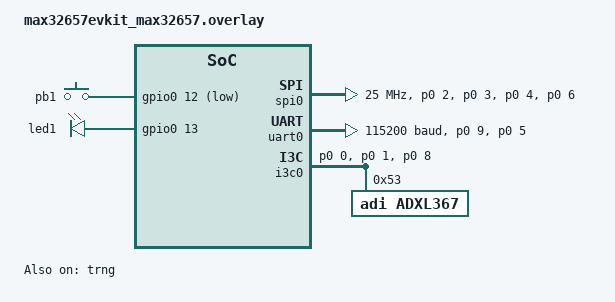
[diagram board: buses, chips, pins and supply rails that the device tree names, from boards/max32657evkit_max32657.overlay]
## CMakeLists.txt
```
# SPDX-License-Identifier: Apache-2.0

cmake_minimum_required(VERSION 3.20.0)
find_package(Zephyr REQUIRED HINTS $ENV{ZEPHYR_BASE})
project(blinky)

set(MAX32_INTERFACE_CFG "cmsis-dap.cfg" CACHE STRING "Override debugger interface config")

# Include compiler flags to enable source navigation with ELF File Explorer
zephyr_cc_option(-fstack-usage)
zephyr_cc_option(-fdump-ipa-cgraph)
zephyr_cc_option(-gdwarf-4)

# Add the BareTerm library
add_subdirectory(bareterm)

target_sources(app PRIVATE
  src/main.c
  src/main_screen.c
  src/test_screen.c
  src/settings_screen.c
  src/test_unit.c
)


# Link with comui library
target_link_libraries(app PRIVATE bareterm )
```

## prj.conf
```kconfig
CONFIG_GPIO=y

# Build for debug (no optimizations) by default
CONFIG_DEBUG=y
CONFIG_NO_OPTIMIZATIONS=y

# Enable thread awareness when debugging
CONFIG_THREAD_NAME=y
CONFIG_DEBUG_THREAD_INFO=y
CONFIG_THREAD_ANALYZER=y

# Sensor config
CONFIG_SENSOR=y
CONFIG_I3C=y
CONFIG_ADXL367=y

#BLE Config
CONFIG_BT=y
CONFIG_BT_PERIPHERAL=y
CONFIG_BT_SMP=y
CONFIG_BT_FIXED_PASSKEY=y
CONFIG_BT_DEVICE_NAME="RF_TEST"
CONFIG_BT_DEVICE_APPEARANCE=0
CONFIG_BT_GATT_SERVICE_CHANGED=y


CONFIG_LOG=n
CONFIG_SENSOR=y
CONFIG_ADXL367=y


CONFIG_SERIAL=y
CONFIG_UART_INTERRUPT_DRIVEN=y
```

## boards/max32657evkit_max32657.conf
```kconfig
# Configuration for MAX32657-WLP.
#
# This file was generated using Analog Devices CodeFusion Studio.
# https://github.com/analogdevicesinc/codefusion-studio
#
# Generated at: 2025-06-24T11:08:08.526Z 
#
# SPDX-License-Identifier: Apache-2.0
# Copyright (c) 2025 Analog Devices, Inc.

# Set the clock frequency
CONFIG_SYS_CLOCK_HW_CYCLES_PER_SEC=50000000 

# Set up the SysTick timer
CONFIG_CORTEX_M_SYSTICK=y
CONFIG_SYS_CLOCK_TICKS_PER_SEC=10000 

# Using GPIO
CONFIG_GPIO=y

# Using UART
CONFIG_SERIAL=y

# Use defined partition of flash memory for code.
CONFIG_USE_DT_CODE_PARTITION=y

###############################
# 🔽 EKLENENLER - Üretim Testi İçin
###############################

# UART üzerinden çıktı
CONFIG_PRINTK=y
CONFIG_CONSOLE=y
CONFIG_UART_CONSOLE=y

# SPI desteği (MAX30123)
CONFIG_SPI=y

# I2C desteği (ADXL367)
CONFIG_SENSOR=y
CONFIG_I3C=y
CONFIG_ADXL367=y
CONFIG_I2C_INIT_PRIORITY=60

# UART input ile ENTER beklemek için
CONFIG_UART_INTERRUPT_DRIVEN=y

# LED / Button desteği için GPIO init önceliği
CONFIG_GPIO_INIT_PRIORITY=40

# main stack büyüklüğü (güvenli buffer için öneri)
CONFIG_MAIN_STACK_SIZE=2048

# Log
CONFIG_LOG=n
CONFIG_LOG_DEFAULT_LEVEL=3
```

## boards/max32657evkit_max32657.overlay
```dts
/**
 * Configuration for MAX32657-WLP.
 *
 * This file was generated using Analog Devices CodeFusion Studio.
 * https://github.com/analogdevicesinc/codefusion-studio
 *
 * Modified for production test on: 2025-06-24
 *
 * SPDX-License-Identifier: Apache-2.0
 */

 / {
	chosen {
		zephyr,code-partition = &slot0_partition;
		zephyr,flash = &flash0;
		zephyr,sram = &secure_ram;
		zephyr,console = &uart0;
		zephyr,shell-uart = &uart0;
		zephyr,bt-c2h-uart = &uart0;
	};

	reserved-memory {
		#address-cells = <1>;
 		#size-cells = <1>;
 		ranges;

		secure_ram: partition@30000000 {
			label = "secure-memory";
			reg = <0x30000000 DT_SIZE_K(256)>;
		};
	};

	aliases {
		led0 = &led1;
		gpio0 = &gpio0;
		sw0 = &pb1;
	};
};

/* Flash partitions */
&flash0 {
	partitions {
		compatible = "fixed-partitions";
		#address-cells = <1>;
		#size-cells = <1>;

		slot0_partition: partition@0 {
			label = "image-0";
			reg = <0x0 DT_SIZE_K(690)>;
		};
		storage_partition: partition@f0000 {
			label = "storage";
			reg = <0xf0000 DT_SIZE_K(64)>;
		};
	};
};

/* GPIO configuration */
&gpio0 {
	status = "okay";
};

 / {
	buttons {
		pb1: pb1 {
			gpios = <&gpio0 12 (GPIO_ACTIVE_LOW | MAX32_GPIO_VSEL_VDDIO | GPIO_PULL_UP)>;
			zephyr,code = <INPUT_KEY_0>;
		};
	};

	leds {
		led1: led_1 {
			gpios = <&gpio0 13 (GPIO_ACTIVE_HIGH | MAX32_GPIO_VSEL_VDDIO | MAX32_GPIO_DRV_STRENGTH_0)>;
		};
	};
};

/* SPI Configuration for MAX30123 (CS: GPIO0_3, SCK: GPIO0_6, MOSI: GPIO0_2, MISO: GPIO0_4) */
&spi0_mosi_p0_2 {
	power-source = <MAX32_VSEL_VDDIO>;
};

&spi0_ss0_p0_3 {
	power-source = <MAX32_VSEL_VDDIO>;
};

&spi0_miso_p0_4 {
	power-source = <MAX32_VSEL_VDDIO>;
};

&spi0_sck_p0_6 {
	power-source = <MAX32_VSEL_VDDIO>;
};

&spi0 {
	pinctrl-0 = <&spi0_mosi_p0_2 &spi0_ss0_p0_3 &spi0_miso_p0_4 &spi0_sck_p0_6>;
	pinctrl-names = "default";
	clock-frequency = <DT_FREQ_M(25)>;
	status = "okay";
};

/* UART0 Pin Configuration (already present) */
&uart0_tx_p0_9 {
	power-source = <MAX32_VSEL_VDDIO>;
};

&uart0_rx_p0_5 {
	power-source = <MAX32_VSEL_VDDIO>;
	bias-pull-up;
};

&uart0 {
	pinctrl-0 = <&uart0_tx_p0_9 &uart0_rx_p0_5>;
	pinctrl-names = "default";
	current-speed = <115200>;
	parity = "none";
	stop-bits = "1";
	data-bits = <8>;
	status = "okay";
};

&i3c_scl_p0_0 {
	power-source = <MAX32_VSEL_VDDIO>;
};

&i3c_sda_p0_1 {
	power-source = <MAX32_VSEL_VDDIO>;
};

&i3c_pur_p0_8 {
	power-source = <MAX32_VSEL_VDDIO>;
	drive-strength = <0>;
};

&i3c0 {
	pinctrl-0 = <&i3c_scl_p0_0 &i3c_sda_p0_1 &i3c_pur_p0_8>;
	pinctrl-names = "default";
	//i3c-scl-hz = <400000>;
	//i2c-scl-hz = <DT_FREQ_K(400)>;
	//i2c-scl-hz 
	status = "okay";
};

&i3c0 {
	adxl367: adxl367@530000000000000000 {
			compatible = "adi,adxl367";
			reg = <0x53 0x00 0x00>;
			status = "okay";
	};
};

&trng {
	status = "okay";
};

/* Disable unused peripherals (korundu) */
&dma1 { status = "disabled"; };
//&i3c0 { status = "disabled"; };
&rtc_counter { status = "disabled"; };
&timer0 { status = "disabled"; };
&timer1 { status = "disabled"; };
&timer2 { status = "disabled"; };
&timer3 { status = "disabled"; };
&timer4 { status = "disabled"; };
&timer5 { status = "disabled"; };
//&trng { status = "disabled"; };
&wdt0 { status = "disabled"; };
&wut0 { status = "disabled"; };
&wut1 { status = "disabled"; };

/* Clock Configuration */
&gcr {
	clocks = <&clk_ipo>;
	sysclk-prescaler = <1>;
};

&clk_ipo {
	status = "okay";
};
```

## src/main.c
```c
/*
 * Copyright (c) 2016 Intel Corporation
 * Portions Copyright (c) 2025 Analog Devices, Inc.
 *
 * SPDX-License-Identifier: Apache-2.0
 */

#include <stdio.h>
#include <zephyr/kernel.h>
#include <zephyr/drivers/gpio.h>
#include <stdio.h>
#include <bareterm.h>
#include <bareterm_screen_manager.h>
#include "main_screen.h"
#include "test_screen.h"

/* 1000 msec = 1 sec */
#define SLEEP_TIME_MS   1000

/* The devicetree node identifier for the "led0" alias. */
#define LED0_NODE DT_ALIAS(led0)

/*
 * A build error on this line means your board is unsupported.
 * See the sample documentation for information on how to fix this.
 */
static const struct gpio_dt_spec led = GPIO_DT_SPEC_GET(LED0_NODE, gpios);

int main(void)
{
	int ret;
	bool led_state = true;


	bareterm_init();

    const struct device *uart = DEVICE_DT_GET(DT_CHOSEN(zephyr_console));
    if (!device_is_ready(uart)) { // Note: Corrected return type
        return;
    }

    bareterm_uart_input_init(uart);

	if (!gpio_is_ready_dt(&led)) {
		return 0;
	}

	ret = gpio_pin_configure_dt(&led, GPIO_OUTPUT_ACTIVE);
	if (ret < 0) {
		return 0;
	}

	// Hide cursor
	bareterm_backend_write("\x1B[?25l", 6);

    // Initialize the screen manager and set the initial screen
    bareterm_screen_manager_init();
    //bareterm_screen_manager_set_active(main_screen_get());
    bareterm_screen_manager_set_active(test_screen_get());
    // Main event loop
    while (1) {
        bareterm_event_t evt;
        if (bareterm_poll_event(&evt)) {
            bareterm_dispatch_event(&evt);
            bareterm_draw_all_widgets();
        }
        k_msleep(10);
    }

	return 0;
}
```

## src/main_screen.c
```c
#include <bareterm_screen.h>
#include <bareterm.h>
#include <widget/bareterm_widget.h>
#include <stdio.h>
#include <string.h>
#include <bareterm_screen_manager.h>
#include "settings_screen.h"
#include "main_screen.h"

#include <zephyr/bluetooth/bluetooth.h>
#include <zephyr/bluetooth/hci.h>
#include <zephyr/bluetooth/gap.h>
#include <zephyr/bluetooth/uuid.h>
#include <zephyr/bluetooth/gatt.h>
#include <zephyr/bluetooth/conn.h>
#include <zephyr/bluetooth/services/cgms.h>

// --- All the static widget variables from main.c go here ---
static bareterm_widget_t btn1, btn2;
static bareterm_widget_t memo;
static bareterm_widget_t lbl1;
static bareterm_widget_t lbl2;
static bareterm_widget_t bar;
static bareterm_widget_t cb1, cb2;
static bareterm_widget_t rg;
static const char *choices[] = { "SPI", "I2C", "UART", "I2C"};
static bareterm_widget_t status_led;
static bareterm_widget_t listbox;
static const char *list_items[] = {
    "First Item", "Second Item", "A Third, Longer Item", "Item Four",
    "Fifth", "Sixth Sense", "Seventh Heaven", "Eighth Wonder",
    "Ninth Life", "Tenth Planet"
};
static bareterm_widget_t input;
static char buf[64] = "";

/* === Define a GATT service globally === */
/* Battery Service Declaration */
BT_GATT_SERVICE_DEFINE(bas_svc,
    BT_GATT_PRIMARY_SERVICE(BT_UUID_BAS),
    BT_GATT_CHARACTERISTIC(BT_UUID_BAS_BATTERY_LEVEL, BT_GATT_CHRC_READ,
                           BT_GATT_PERM_READ, NULL, NULL, NULL),
);

/* Device Information Service Declaration */
BT_GATT_SERVICE_DEFINE(dis_svc,
    BT_GATT_PRIMARY_SERVICE(BT_UUID_DIS),
    BT_GATT_CHARACTERISTIC(BT_UUID_DIS_MANUFACTURER_NAME, BT_GATT_CHRC_READ,
                           BT_GATT_PERM_READ, NULL, NULL, "Analog Devices Inc."),
    BT_GATT_CHARACTERISTIC(BT_UUID_DIS_MODEL_NUMBER, BT_GATT_CHRC_READ,
                           BT_GATT_PERM_READ, NULL, NULL, "MAX32657-EVKIT-Test"),
);

/* Bluetooth declarations */
#define FIXED_PASSKEY 555555
static bt_addr_le_t stored_bond;
static struct bt_conn *active_conn;
static const struct bt_data ad[] = {
    /* Flags: general discoverable, no BR/EDR */
    BT_DATA_BYTES(BT_DATA_FLAGS, (BT_LE_AD_GENERAL | BT_LE_AD_NO_BREDR)),
    /* Set appearance to Generic Computer, little-endian 0x0080 */
    BT_DATA_BYTES(BT_DATA_GAP_APPEARANCE, 0x80, 0x00),
    /* Advertise two services: Device Information and Battery Service */
    BT_DATA_BYTES(BT_DATA_UUID16_ALL,
                  BT_UUID_16_ENCODE(BT_UUID_DIS_VAL),
                  BT_UUID_16_ENCODE(BT_UUID_BAS_VAL)),
};

/* Put the full name in the SCAN RESPONSE to save ADV space */
static const struct bt_data sd[] = {
    BT_DATA(BT_DATA_NAME_COMPLETE, CONFIG_BT_DEVICE_NAME,
            sizeof(CONFIG_BT_DEVICE_NAME) - 1),
};

// --- All the callback functions from main.c go here ---
void on_submit(bareterm_widget_t *ti) {
    // Copy out and display
    char out[64];
    bareterm_textinput_get_text(ti, out, sizeof(out));
    bareterm_move_cursor(1, 20);
    bareterm_printf("You entered: %s", out);
}

static void on_button_click1(void *w) {
    bareterm_label_set_text(&lbl1, "Clicked Button 1!");
    bareterm_label_set_color(&lbl1, bareterm_YELLOW, bareterm_BLUE, bareterm_STYLE_BOLD);
	bareterm_progressbar_set_value(&bar, bar.value - 1);
    static int status_idx = 0;
    bareterm_color_t colors[] = { bareterm_GREEN, bareterm_YELLOW, bareterm_RED, bareterm_WHITE };
    status_idx = (status_idx + 1) % 4;
    bareterm_statusindicator_set_color(&status_led, colors[status_idx]);
}

static void on_button_click2(void *w) {
    // Navigate to the settings screen
    bareterm_screen_manager_set_active(settings_screen_get());
}

//LOG_MODULE_REGISTER(test_rf, LOG_LEVEL_DBG);

static struct bt_conn *default_conn;

/* Bluetooth bağlantı callback fonksiyonları */

K_SEM_DEFINE(bt_connected_sem, 0, 1); // Başlangıçta 0, maksimum 1

static void connected(struct bt_conn *conn, uint8_t err)
{
    if (err) {
        //LOG_ERR("Connection failed (err %u)", err);
        //report_result("BLE_TEST", false);
        //return;
        printk("connection failed\n");
    }

    default_conn = bt_conn_ref(conn);
    //LOG_INF("Connection established");
    k_sem_give(&bt_connected_sem); // Semaforu serbest bırak
}

static void disconnected(struct bt_conn *conn, uint8_t reason)
{
    //LOG_INF("Disconnected (reason %u)", reason);
    printk("disconnected\n");
    if (default_conn) {
        bt_conn_unref(default_conn);
        default_conn = NULL;
    }
}

/* Bluetooth bağlantı callback yapısını tanımla */
static struct bt_conn_cb conn_callbacks = {
    .connected = connected,
    .disconnected = disconnected,
};



static void on_toggle(bareterm_widget_t *cb, unsigned char state) {

    //init_bt();
    
    int err;
    /* Bluetooth'u başlat */
    err = bt_enable(NULL);
    if (err) {
        //LOG_ERR("Bluetooth init failed (err %d)", err);
        printk("Bluetooth init failed\n");
        //report_result("BLE_TEST", false);
        return;
    }

    //LOG_INF("Bluetooth initialized");
    printk("Bluetooth initialized\n");

    /* Bağlantı callback'lerini kaydet */
    bt_conn_cb_register(&conn_callbacks);

    const struct bt_le_adv_param *param =
        BT_LE_ADV_PARAM(BT_LE_ADV_OPT_CONNECTABLE |
                        BT_LE_ADV_OPT_USE_IDENTITY, 
                        BT_GAP_ADV_FAST_INT_MIN_2,  
                        BT_GAP_ADV_FAST_INT_MAX_2,  
                        NULL);                      

    
    err = bt_le_adv_start(param, ad, ARRAY_SIZE(ad), sd, ARRAY_SIZE(sd));
    if (err) {
        printk("Advertising failed to start (err %d)\n", err);
        return;
    }

    //LOG_INF("Advertising started");
    printk("Advertising started. Waiting for connection named BLE TEST...\n");

    /* Bağlantının tamamlanmasını bekle */
    k_sem_take(&bt_connected_sem, K_FOREVER);
    //LOG_INF("Connection established. Waiting for user to press Enter...");
    printk("Connection established. \n");
    //report_result("BLE_TEST", true);


    bareterm_move_cursor(10, 20);
    bareterm_printf("Checkbox is now %s   ", state ? "☑️" : "☐");
	if (state) {
		bareterm_label_set_text(&lbl2, "Checkbox enabled");
		bareterm_modalpopup_show("Checkbox Enabled", "You have enabled the checkbox feature.");
	} else {
		bareterm_label_set_text(&lbl2, "Checkbox disabled");
        bareterm_modalpopup_show("Checkbox Disabled", "The feature has been turned off.");
	}
}

void on_choice_change(bareterm_widget_t *w, int sel) {
    bareterm_move_cursor(4, 18);
    bareterm_printf("Selected: %s   ", choices[sel]);
}

void on_list_select(bareterm_widget_t *w, int sel) {
    bareterm_move_cursor(18, 22);
    bareterm_printf("Listbox selected: %-20s", list_items[sel]);
}

// This function is called when the screen becomes active.
// It is responsible for creating all the widgets for this screen.
static void on_main_screen_enter(bareterm_screen_t *screen) {
    // This is where all the bareterm_*_init() calls from main() go.
    bareterm_draw_box(1, 1, 80, 30, " MAX32657 EVKit Test Tool v0.1.0");
	bareterm_label_init(&lbl1, 15, 4, "Welcome", bareterm_WHITE, bareterm_BLUE, bareterm_STYLE_BOLD);
	bareterm_label_init(&lbl2, 14, 24, "Click somewhere to start", bareterm_YELLOW, bareterm_BLUE, bareterm_STYLE_BOLD);
    bareterm_button_init(&btn1, 4, 6, 20, 3, "[ Button1 ]", on_button_click1);
    bareterm_button_init(&btn2, 26, 6, 20, 3, "[ Settings ]", on_button_click2);
	bareterm_textbox_init(&memo, 3, 10, 36, 5, "To start tests please follow the instructions below: Here are the instructions. Under construction...", bareterm_CYAN, bareterm_BLACK, bareterm_STYLE_NONE);
    bareterm_progressbar_init(&bar, 4,  15, 38, 1, 30, 100, bareterm_GREEN, bareterm_BLACK, bareterm_STYLE_NONE);
    bareterm_checkbox_init(&cb1, 12, 27, "Enable feature 1", false, on_toggle);
    bareterm_checkbox_init(&cb2, 12, 28, "Enable feature 2", false, on_toggle);
    bareterm_radiogroup_init(&rg, 4, 19, choices, 4, 1, on_choice_change);
    bareterm_statusindicator_init(&status_led, 40, 17, "System Status", bareterm_GREEN);
    bareterm_listbox_init(&listbox, 52, 2, 25, 12, list_items, 10, on_list_select);
    
    // The text input 
    // bareterm_textinput_init(&input, ...);
}

// This is the definition of our screen.
static bareterm_screen_t main_screen_def = {
    .on_enter = on_main_screen_enter,
    .on_leave = NULL, // No special cleanup needed
    .user_data = NULL,
};

// This is the public function to get a pointer to our screen.
bareterm_screen_t* main_screen_get(void) {
    return &main_screen_def;
}
```

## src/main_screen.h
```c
#ifndef MAIN_SCREEN_H
#define MAIN_SCREEN_H

#include <bareterm_screen.h>

// Returns a pointer to the main screen definition
bareterm_screen_t* main_screen_get(void);

#endif // MAIN_SCREEN_H
```

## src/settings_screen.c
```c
#include "settings_screen.h"
#include "main_screen.h" // Needed to navigate back
#include <bareterm.h>
#include <widget/bareterm_widget.h>
#include <bareterm_screen_manager.h>
#include <stdio.h>

// --- Widgets for this screen ---
static bareterm_widget_t lbl_title;
static bareterm_widget_t btn_back;

// --- Callbacks for this screen ---

// This is the key to navigation. It tells the screen manager
// to switch back to the main screen.
static void on_back_button_click(void *w) {
    bareterm_screen_manager_set_active(main_screen_get());
}

// --- Screen lifecycle functions ---
static void on_settings_screen_enter(bareterm_screen_t *screen) {
    bareterm_draw_box(1, 1, 80, 30, " Settings ");

    bareterm_label_init(&lbl_title,
        28, 10,
        "This is the settings screen.",
        bareterm_WHITE, bareterm_BLACK, bareterm_STYLE_NONE);

    bareterm_button_init(&btn_back,
        30, 15,
        20, 3,
        "[ Back ]",
        on_back_button_click);
}

// --- Screen definition ---
static bareterm_screen_t settings_screen_def = {
    .on_enter = on_settings_screen_enter,
};

bareterm_screen_t* settings_screen_get(void) {
    return &settings_screen_def;
}
```

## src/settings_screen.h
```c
#ifndef SETTINGS_SCREEN_H
#define SETTINGS_SCREEN_H

#include <bareterm_screen.h>

// Returns a pointer to the settings screen definition
bareterm_screen_t* settings_screen_get(void);

#endif // SETTINGS_SCREEN_H
```

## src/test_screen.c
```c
#include <bareterm_screen.h>
#include <bareterm.h>
#include <widget/bareterm_widget.h>
#include <bareterm_screen_manager.h>
#include <stdio.h>
#include <zephyr/kernel.h>
#include <zephyr/drivers/gpio.h>

#include "main_screen.h"
#include "test_screen.h"

// Use an enum for wizard steps to improve readability and maintainability.
typedef enum {
    WIZARD_STEP_INTRO,
    WIZARD_STEP_INSPECTION,
    WIZARD_STEP_VOLTAGES,
    WIZARD_STEP_LED_TEST,
    WIZARD_STEP_GPIO_TEST_PREPARE,
    WIZARD_STEP_GPIO_TEST_PERFORM,
    WIZARD_STEP_COMPLETE,
    WIZARD_STEP_COUNT // This special member gives us the total number of steps.
} wizard_step_t;

typedef enum {
    TESTERROR_LED,
    TESTERROR_GPIO
} test_error_t;

// --- State for the Wizard ---
// The current step is now of the enum type, initialized to the first step.
static wizard_step_t current_step = WIZARD_STEP_INTRO;

// State for the voltage check step. This must be static to persist
// when the user navigates back and forth.
static bool tp3_vbus_checked = false;
static bool tp5_vin_checked = false;
static bool tp13_vdd18_checked = false;
static bool tp8_vreg1_checked = false;
static bool tp10_vcore_checked = false;
static bool cb_ledd0_checked = false;
static bool cb_ledd4_checked = false;

// --- Widgets used across different steps ---
static bareterm_widget_t lbl_title;
static bareterm_widget_t memo_instructions, progress_bar;
static bareterm_widget_t btn_next, btn_back, btn_finish;
static bareterm_widget_t cb_tp3, cb_tp5, cb_tp13, cb_tp8, cb_tp10, cb_ledd0, cb_ledd4; // cb_ledd0 is for the blinking test
static bareterm_widget_t status_led, lbl_gpio_status;
static char wizard_title_buf[64];


/* The devicetree node identifiers */
#define LED0_NODE     DT_ALIAS(led0)
#define BUTTON_NODE   DT_ALIAS(sw0)
#define SPI_NODE      DT_NODELABEL(spi0)
#define GPIO0_NODE    DT_NODELABEL(gpio0)
#define UART_NODE     DT_CHOSEN(zephyr_console)
#define I2C_NODE      DT_NODELABEL(i3c0)

// --- LED Blinking Test Resources ---
#define LED0_NODE DT_ALIAS(led0)
static const struct gpio_dt_spec led = GPIO_DT_SPEC_GET(LED0_NODE, gpios);

static const struct device *gpio0_dev = DEVICE_DT_GET(GPIO0_NODE);


static void blink_timer_expiry_function(struct k_timer *timer_id);
K_TIMER_DEFINE(led_blink_timer, blink_timer_expiry_function, NULL);

static void blink_timer_expiry_function(struct k_timer *timer_id)
{
    gpio_pin_toggle_dt(&led);
}

void testfunction_led(void) {

    // Configure the GPIO and start the blink timer
    gpio_pin_configure_dt(&led, GPIO_OUTPUT_ACTIVE);
    if (!gpio_is_ready_dt(&led)) {
        //report_result("LED", false);
        return;
    }
            k_timer_start(&led_blink_timer, K_MSEC(500), K_MSEC(500));

}

int testfunction_gpio(void) {

    int ret;

    ret = gpio_pin_configure(gpio0_dev, 8, GPIO_OUTPUT);
    if (ret != 0) {
        return(ret);
    }

    ret = gpio_pin_configure(gpio0_dev, 7, GPIO_INPUT);
    if (ret != 0) {
        return(ret);
    }

    ret = gpio_pin_set(gpio0_dev, 8, 1);
    if (ret != 0) {
        return(ret);
    }

    k_sleep(K_MSEC(10)); 

    int value = gpio_pin_get(gpio0_dev, 7); 
    if (value != 1) {
        return -EIO;
    }

    ret = gpio_pin_set(gpio0_dev, 8, 0); 
    if (ret != 0) {
        return ret;
    }

    k_sleep(K_MSEC(10)); 

    value = gpio_pin_get(gpio0_dev, 7); 
    if (value != 0) {
        return -EIO;
    }

    return 0;
    
}

// --- Wizard Navigation Callbacks ---

static void on_checkbox_toggle(bareterm_widget_t *cb, unsigned char state);

static void on_next_click(void *w) {
    current_step++;
    // Reload the current screen to show the next step
    bareterm_screen_manager_set_active(test_screen_get());
}

static void on_back_click(void *w) {
    current_step--;
    // Reload the current screen to show the previous step
    bareterm_screen_manager_set_active(test_screen_get());
}

static void on_finish_click(void *w) {
    // Ensure timer is stopped on finish
    k_timer_stop(&led_blink_timer);
    // Reset the step counter for the next time we enter this screen
    current_step = WIZARD_STEP_INTRO;

    // Also reset the state of the checkboxes
    tp3_vbus_checked = false;
    tp5_vin_checked = false;
    tp13_vdd18_checked = false;
    tp8_vreg1_checked = false;
    tp10_vcore_checked = false;
    cb_ledd0_checked = false;
    cb_ledd4_checked = false;


    // Navigate back to the main screen
    bareterm_screen_manager_set_active(main_screen_get());
}

static void on_checkbox_toggle(bareterm_widget_t *cb, unsigned char state) {
    if (cb == &cb_tp3) {
        tp3_vbus_checked = state;
    } else if (cb == &cb_tp5) {
        tp5_vin_checked = state;
    } else if (cb == &cb_tp13) {
        tp13_vdd18_checked = state;
    } else if (cb == &cb_tp8) {
        tp8_vreg1_checked = state;
    } else if (cb == &cb_tp10) {
        tp10_vcore_checked = state;
    } else if (cb == &cb_ledd4) {
        cb_ledd4_checked = state;
    } else if (cb == &cb_ledd0) {
        cb_ledd0_checked = state;
    }

    // Reload the screen. This is necessary to re-evaluate the state
    // of the 'Next' button, which is disabled until all boxes are checked.
    bareterm_screen_manager_set_active(test_screen_get());
}

// --- Screen Lifecycle Functions ---

// on_enter is the "blueprint" for the screen. It runs every time the screen
// is activated, and it uses the `current_step` variable to decide what to draw.
static void on_test_screen_enter(bareterm_screen_t *screen) {
    // Stop the blink timer by default. It will be restarted only if we are on the LED test step.
    // This is a robust way to manage the timer's lifecycle.
    k_timer_stop(&led_blink_timer);

    bareterm_draw_box(1, 1, 80, 30, " Test Procedure ");

    // Initialize the progress bar to show the current step. This is drawn on every step.
    bareterm_progressbar_init(&progress_bar, 5, 26, 40, 1, current_step + 1, WIZARD_STEP_COUNT, bareterm_GREEN, bareterm_BLACK, bareterm_STYLE_NONE);

    switch (current_step) {
        case WIZARD_STEP_INTRO:
            snprintf(wizard_title_buf, sizeof(wizard_title_buf), "Step %d: Introduction", current_step + 1);
            bareterm_label_init(&lbl_title, 5, 3, wizard_title_buf, bareterm_WHITE, bareterm_BLUE, bareterm_STYLE_BOLD);
            bareterm_textbox_init(&memo_instructions, 5, 5, 70, 5, "To start tests please follow the instructions below. For questions, contact ismail.tasdemir@analog.com or gokhan.bektas@analog.com.", bareterm_CYAN, bareterm_BLACK, bareterm_STYLE_NONE);
            
            // Navigation for Step 1
            bareterm_button_init(&btn_next, 66, 25, 12, 3, "[ Next ]", on_next_click);
            break;

        case WIZARD_STEP_INSPECTION:
            snprintf(wizard_title_buf, sizeof(wizard_title_buf), "Step %d: Visual Inspection", current_step + 1);
            bareterm_label_init(&lbl_title, 5, 3, wizard_title_buf, bareterm_WHITE, bareterm_BLUE, bareterm_STYLE_BOLD);
            bareterm_textbox_init(&memo_instructions, 5, 5, 70, 8, "Check for solder bridges, missing components, and correct shunt placement. Verify jumper settings against the Jumper Settings Table and confirm shunt positions using the 3D board images.", bareterm_CYAN, bareterm_BLACK, bareterm_STYLE_NONE);

            // Navigation for Step 2
            bareterm_button_init(&btn_back, 52, 25, 12, 3, "[ Back ]", on_back_click);
            bareterm_button_init(&btn_next, 66, 25, 12, 3, "[ Next ]", on_next_click);
            break;

        case WIZARD_STEP_VOLTAGES:
            snprintf(wizard_title_buf, sizeof(wizard_title_buf), "Step %d: Voltage Checks", current_step + 1);
            bareterm_label_init(&lbl_title, 5, 3, wizard_title_buf, bareterm_WHITE, bareterm_BLUE, bareterm_STYLE_BOLD);
            bareterm_textbox_init(&memo_instructions, 5, 5, 70, 3, "Use a multimeter to measure the voltages at the test points shown below. Verify that each reading matches the expected value in the table.", bareterm_CYAN, bareterm_BLACK, bareterm_STYLE_NONE);

            // Add checkboxes for each voltage measurement
            int y_pos = 10;
            bareterm_checkbox_init(&cb_tp3,  7, y_pos   , "TP3  - VBUS     5V   (4.5V  - 5.5V)",       tp3_vbus_checked,   on_checkbox_toggle);
            bareterm_checkbox_init(&cb_tp5,  7, y_pos+2 , "TP5  - VIN      1.5V (1.425 – 1.575V)",  tp5_vin_checked,    on_checkbox_toggle);
            bareterm_checkbox_init(&cb_tp8,  7, y_pos+4 , "TP8  – VREG1    1V   (0.95V – 1.05V)",     tp8_vreg1_checked,  on_checkbox_toggle);
            bareterm_checkbox_init(&cb_tp10, 7, y_pos+6 , "TP10 - VCORE    1V   (0.95V – 1.05V)",     tp10_vcore_checked, on_checkbox_toggle);
            bareterm_checkbox_init(&cb_tp13, 7, y_pos+8 , "TP13 – VDD18    1.8V (1.71V – 1.89V)",   tp13_vdd18_checked, on_checkbox_toggle);
            
            bareterm_checkbox_init(&cb_ledd4, 7, y_pos+10, "Observe that the Power LED – D4 is illuminated.",   cb_ledd4_checked, on_checkbox_toggle);
            bareterm_statusindicator_init(&status_led, 5, y_pos+10, "", bareterm_BLUE);

            // Navigation for Step 3
            bareterm_button_init(&btn_back, 52, 25, 12, 3, "[ Back ]", on_back_click);

            // Only enable the 'Next' button if all voltages have been checked
            bool all_checked = tp3_vbus_checked && tp5_vin_checked && tp13_vdd18_checked && tp8_vreg1_checked && tp10_vcore_checked && cb_ledd4_checked;
            if (all_checked) {
                bareterm_button_init(&btn_next, 66, 25, 12, 3, "[ Next ]", on_next_click);
            } else {
                bareterm_button_init(&btn_next, 66, 25, 12, 3, "[ ... ]", NULL);
            }
            break;
        case WIZARD_STEP_LED_TEST:
            snprintf(wizard_title_buf, sizeof(wizard_title_buf), "Step %d: LED Test", current_step + 1);
            bareterm_label_init(&lbl_title, 5, 3, wizard_title_buf, bareterm_WHITE, bareterm_BLUE, bareterm_STYLE_BOLD);
            bareterm_textbox_init(&memo_instructions, 5, 5, 70, 3, "Verify that the GREEN LED – D0 is blinking at 1Hz. Check the box to confirm.", bareterm_CYAN, bareterm_BLACK, bareterm_STYLE_NONE);

            testfunction_led();

            // Add a checkbox for user confirmation
            bareterm_checkbox_init(&cb_ledd0, 7, 10, "GREEN LED - D0 is blinking correctly.", cb_ledd0_checked, on_checkbox_toggle);
            bareterm_statusindicator_init(&status_led, 5, 10, "", bareterm_GREEN);

            // Navigation for Step 4
            bareterm_button_init(&btn_back, 52, 25, 12, 3, "[ Back ]", on_back_click);

            // Only enable the 'Next' button if the user has confirmed the blink
            all_checked =  cb_ledd0_checked;
            if (all_checked) {
                bareterm_button_init(&btn_next, 66, 25, 12, 3, "[ Next ]", on_next_click);
            } else {
                bareterm_button_init(&btn_next, 66, 25, 12, 3, "[ ... ]", NULL);
            }
            break;
        case WIZARD_STEP_GPIO_TEST_PREPARE:
            snprintf(wizard_title_buf, sizeof(wizard_title_buf), "Step %d: GPIO Test", current_step + 1);
            bareterm_label_init(&lbl_title, 5, 3, wizard_title_buf, bareterm_WHITE, bareterm_BLUE, bareterm_STYLE_BOLD);
            bareterm_textbox_init(&memo_instructions, 5, 5, 70, 3, "Please remove the GPIO2 and INTB jumper from the JP15 header and connect these pin with a jumper cable on J13 Header(7 and 8). Then click Next to start.", bareterm_CYAN, bareterm_BLACK, bareterm_STYLE_NONE);
            
            // Navigation for previous step
            bareterm_button_init(&btn_back, 52, 25, 12, 3, "[ Back ]", on_back_click);
            bareterm_button_init(&btn_next, 66, 25, 12, 3, "[ Next ]", on_next_click);
            break;
        case WIZARD_STEP_GPIO_TEST_PERFORM:
            snprintf(wizard_title_buf, sizeof(wizard_title_buf), "Step %d: GPIO Test", current_step + 1);
            bareterm_label_init(&lbl_title, 5, 3, wizard_title_buf, bareterm_WHITE, bareterm_BLUE, bareterm_STYLE_BOLD);
            bareterm_textbox_init(&memo_instructions, 5, 5, 70, 3, "Testing J13 Header GPIO Pins", bareterm_CYAN, bareterm_BLACK, bareterm_STYLE_NONE);
            
            int test_result = testfunction_gpio();
            if (test_result == 0) {
                bareterm_label_init(&lbl_gpio_status, 7, 10, "GPIO Test: PASSED", bareterm_GREEN, bareterm_BLACK, bareterm_STYLE_BOLD);
            } else {
                bareterm_label_init(&lbl_gpio_status, 7, 10, "GPIO Test: FAILED", bareterm_RED, bareterm_BLACK, bareterm_STYLE_BOLD);
            }

            // Navigation for previous step
            bareterm_button_init(&btn_back, 52, 25, 12, 3, "[ Back ]", on_back_click);
            bareterm_button_init(&btn_next, 66, 25, 12, 3, "[ Next ]", on_next_click);
            break;
        case WIZARD_STEP_COMPLETE:
            snprintf(wizard_title_buf, sizeof(wizard_title_buf), "Step %d: Complete", current_step + 1);
            bareterm_label_init(&lbl_title, 5, 3, wizard_title_buf, bareterm_WHITE, bareterm_BLUE, bareterm_STYLE_BOLD);
            bareterm_textbox_init(&memo_instructions, 5, 5, 70, 3, "The initial hardware check is complete. Press Finish to return to the main menu.", bareterm_CYAN, bareterm_BLACK, bareterm_STYLE_NONE);

            // Navigation for Step 4
            bareterm_button_init(&btn_back, 52, 25, 12, 3, "[ Back ]", on_back_click);
            bareterm_button_init(&btn_finish, 66, 25, 12, 3, "[ Finish ]", on_finish_click);
            break;

        default:
            // Invalid step, reset to the beginning to be safe
            current_step = WIZARD_STEP_INTRO;
            bareterm_screen_manager_set_active(test_screen_get());
            break;
    }
}

// --- Screen Definition ---
static bareterm_screen_t test_screen_def = {
    .on_enter = on_test_screen_enter,
    .on_leave = NULL, // The state is reset in on_finish_click now
    .user_data = NULL,
};

bareterm_screen_t* test_screen_get(void) {
    return &test_screen_def;
}
```

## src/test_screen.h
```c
#ifndef TEST_SCREEN_H
#define TEST_SCREEN_H

#include <bareterm_screen.h>

bareterm_screen_t* test_screen_get(void);

#endif // TEST_SCREEN_H
```

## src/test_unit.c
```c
#include "test_unit.h"
```

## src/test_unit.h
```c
#ifndef TEST_UNIT_H
#define TEST_UNIT_H

#include <zephyr/kernel.h>
#include <zephyr/drivers/gpio.h>
#include <stdio.h>

#include <bareterm.h>



#endif // TEST_UNIT_H
```

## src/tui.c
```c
// ============================
// File: tui.c
// ============================
#include "tui.h"
#include <stdio.h>
#include <string.h>
#include <zephyr/drivers/uart.h>
#include "tui.h"


// Backend hook (weak by default)
__attribute__((weak)) void tui_backend_write(const char *buf, size_t len) {
    fwrite(buf, 1, len, stdout);
}

void tui_init(void) {
    // Placeholder for backend-specific init (e.g., UART)
    // Enable mouse tracking (button press/release, no motion tracking)
    tui_backend_write("\x1B[?1000h", 8);
    
}

void tui_clear_screen(void) {
    tui_backend_write("\x1B[2J\x1B[H", 7);
}

void tui_move_cursor(int col, int row) {
    char buf[16];
    int len = snprintf(buf, sizeof(buf), "\x1B[%d;%dH", row, col);
    tui_backend_write(buf, len);
}

void tui_puts(const char *str) {
    if (str) {
        tui_backend_write(str, strlen(str));
    }
}

void tui_printf(const char *fmt, ...) {
    char buf[128];
    va_list args;
    va_start(args, fmt);
    int len = vsnprintf(buf, sizeof(buf), fmt, args);
    va_end(args);
    if (len > 0) {
        if ((size_t)len > sizeof(buf)) len = sizeof(buf);
        tui_backend_write(buf, len);
    }
}

void tui_set_color(tui_color_t fg, tui_color_t bg, tui_style_t style) {
    char buf[64];
    int offset = 0;

    if (style & TUI_STYLE_BOLD) {
        offset += snprintf(buf + offset, sizeof(buf) - offset, "\x1B[1m");
    }
    if (style & TUI_STYLE_UNDERLINE) {
        offset += snprintf(buf + offset, sizeof(buf) - offset, "\x1B[4m");
    }

    offset += snprintf(buf + offset, sizeof(buf) - offset, "\x1B[%d;%dm", 30 + fg, 40 + bg);
    tui_backend_write(buf, offset);
}

void tui_reset_color(void) {
    tui_backend_write("\x1B[0m", 4);
}

void tui_draw_box(int x, int y, int width, int height, const char *title) {
    const char *TL = "\xE2\x94\x8C"; // ┌
    const char *TR = "\xE2\x94\x90"; // ┐
    const char *BL = "\xE2\x94\x94"; // └
    const char *BR = "\xE2\x94\x98"; // ┘
    const char *H  = "\xE2\x94\x80"; // ─
    const char *V  = "\xE2\x94\x82"; // │

    // Top border
    tui_move_cursor(x, y);
    tui_puts(TL);
    for (int i = 0; i < width - 2; ++i) tui_puts(H);
    tui_puts(TR);

    // Title
    if (title && width > 4) {
        tui_move_cursor(x + 2, y);
        tui_puts(title);
    }

    // Sides
    for (int i = 1; i < height - 1; ++i) {
        tui_move_cursor(x, y + i);
        tui_puts(V);
        tui_move_cursor(x + width - 1, y + i);
        tui_puts(V);
    }

    // Bottom border
    tui_move_cursor(x, y + height - 1);
    tui_puts(BL);
    for (int i = 0; i < width - 2; ++i) tui_puts(H);
    tui_puts(BR);
}
```

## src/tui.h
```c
// ============================
// File: tui.h
// ============================
#ifndef TUI_H
#define TUI_H

#include <stddef.h>
#include <stdarg.h>

#ifdef __cplusplus
extern "C" {
#endif

void tui_init(void);
void tui_clear_screen(void);
void tui_move_cursor(int col, int row);
void tui_puts(const char *str);
void tui_printf(const char *fmt, ...);

// Color handling
typedef enum {
    TUI_BLACK = 0,
    TUI_RED,
    TUI_GREEN,
    TUI_YELLOW,
    TUI_BLUE,
    TUI_MAGENTA,
    TUI_CYAN,
    TUI_WHITE
} tui_color_t;

typedef enum {
    TUI_STYLE_NONE      = 0,
    TUI_STYLE_BOLD      = 1 << 0,
    TUI_STYLE_UNDERLINE = 1 << 1
} tui_style_t;

void tui_set_color(tui_color_t fg, tui_color_t bg, tui_style_t style);
void tui_reset_color(void);

// Box drawing
void tui_draw_box(int x, int y, int width, int height, const char *title);



#ifdef __cplusplus
}
#endif

#endif // TUI_H
```

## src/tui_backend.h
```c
// tui_backend.h
#ifndef TUI_BACKEND_H
#define TUI_BACKEND_H

#include <stddef.h>


// You define this function in the platform layer
void tui_backend_write(const char *buf, size_t len);

// Convenience macro for string literals
#define tui_backend_puts(str) tui_backend_write(str, sizeof(str) - 1)

#endif // TUI_BACKEND_H
```

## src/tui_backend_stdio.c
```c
// tui_backend_stdio.c
#include "tui_backend.h"
#include <stdio.h>
#include <string.h>

void tui_backend_write(const char *buf, size_t len) {
    fwrite(buf, 1, len, stdout);  // or: write to UART buffer in future
}
```
